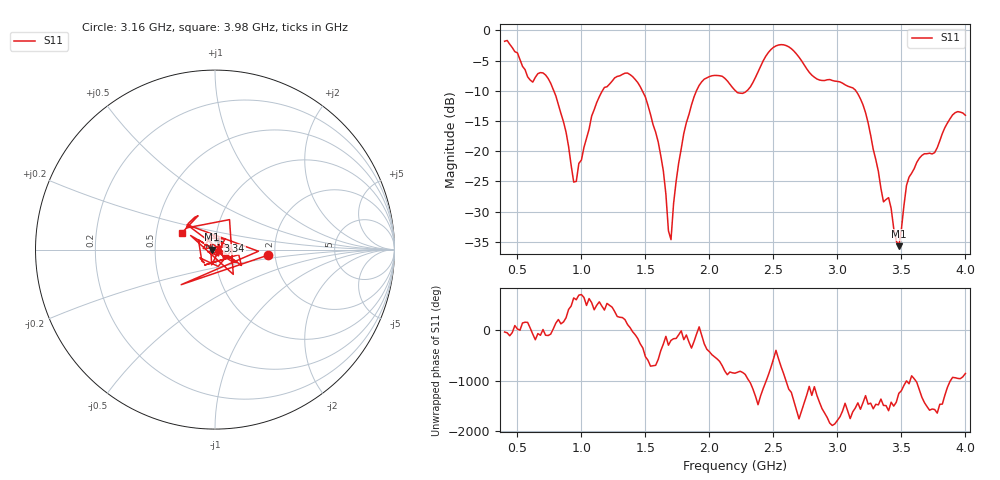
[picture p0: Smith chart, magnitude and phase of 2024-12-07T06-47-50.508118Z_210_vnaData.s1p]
!Created with skrf (http://scikit-rf.org).
# Hz S RI R 50.0
!freq ReS11 ImS11
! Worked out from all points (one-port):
!   181 points, 400 MHz to 4 GHz, reference 50 ohm
!   lowest |S11| = -35.7 dB at 3.48 GHz (marker M1), VSWR 1.03, Z = 48.4 - j0.116 ohm
!   |S11| at or under -10 dB: 784.3 MHz to 1.164 GHz (379.6 MHz wide, 39 % of centre); 1.476 GHz to 1.899 GHz (422.7 MHz wide, 25.1 % of centre); 3.144 GHz to end of sweep (the widest 3 of 4)
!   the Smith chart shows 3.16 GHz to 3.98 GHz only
!   S11 on the Smith chart (normalised r, x): 3.16 GHz: 1.84, -0.12; 3.34 GHz: 1.03, +0.10; 3.98 GHz: 0.68, +0.13
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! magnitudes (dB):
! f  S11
! 400 MHz  -1.8
! 600 MHz  -8.2
! 740 MHz  -7.9
! 860 MHz  -15.1
! 940 MHz  -25.1
! 960 MHz  -25.0
! 1.12 GHz  -11.9
! 1.3 GHz  -7.5
! 1.5 GHz  -11.0
! 1.62 GHz  -20.7
! 1.7 GHz  -34.7
! 1.76 GHz  -22.0
! 1.82 GHz  -15.3
! 1.94 GHz  -8.5
! 2.2 GHz  -9.9
! 2.3 GHz  -9.9
! 2.5 GHz  -2.8
! 2.66 GHz  -3.4
! 2.84 GHz  -8.0
! 3.1 GHz  -9.4
! 3.16 GHz  -10.5
! 3.24 GHz  -15.3
! 3.34 GHz  -26.2
! 3.4 GHz  -27.7
! 3.48 GHz  -35.7
! 3.56 GHz  -24.3
! 3.98 GHz  -13.7
! 4 GHz  -14.1
